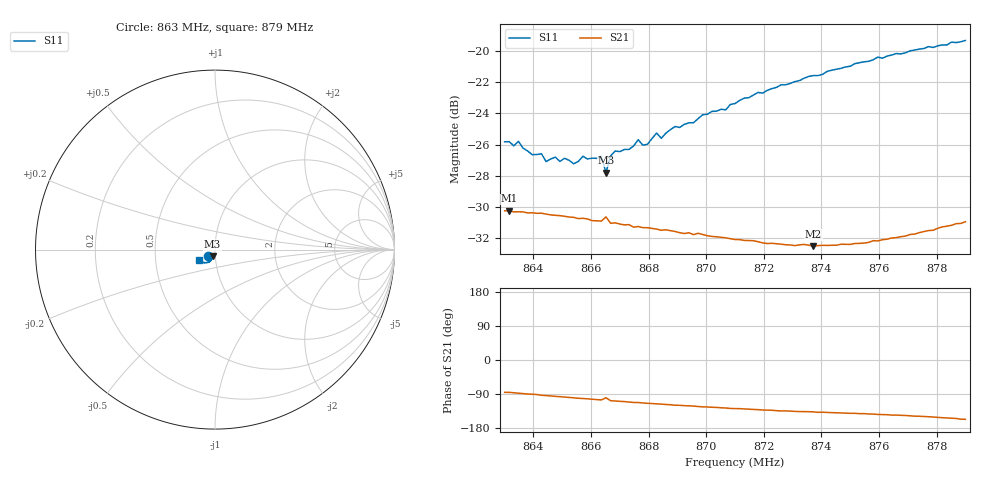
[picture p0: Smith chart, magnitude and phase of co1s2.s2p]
# HZ S RI R 50
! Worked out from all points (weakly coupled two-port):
!   101 points, 863 MHz to 879 MHz, reference 50 ohm
!   highest |S21| = -30.25 dB at 863.16 MHz (marker M1); lowest = -32.5 dB at 873.72 MHz (marker M2)
!   lowest |S11| = -27.8 dB at 866.52 MHz (marker M3), VSWR 1.08, Z = 48.5 - j3.72 ohm
!   |S11| at or under -10 dB: start of sweep to end of sweep
!   S12 and S22 are empty: the file has one direction only
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8.63e8  -0.0381 -0.0342  0.00246 -0.0306  0 0  0 0
8.6316e8  -0.0385 -0.0338  0.00246 -0.0306  0 0  0 0
8.6396e8  -0.0323 -0.0335  -0.000139 -0.0302  0 0  0 0
8.6428e8  -0.0315 -0.0346  -0.0016 -0.0301  0 0  0 0
8.6444e8  -0.0289 -0.0335  -0.00205 -0.0299  0 0  0 0
8.6476e8  -0.0289 -0.0354  -0.00307 -0.0295  0 0  0 0
8.654e8  -0.0245 -0.0359  -0.00495 -0.0288  0 0  0 0
8.6572e8  -0.0235 -0.0395  -0.00589 -0.0284  0 0  0 0
8.6636e8  -0.0225 -0.04  -0.00751 -0.0274  0 0  0 0
8.6652e8  -0.0139 -0.0383  -0.00494 -0.0289  0 0  0 0
8.6668e8  -0.0208 -0.0411  -0.00832 -0.0267  0 0  0 0
8.6684e8  -0.0213 -0.0428  -0.00878 -0.0267  0 0  0 0
8.6732e8  -0.0194 -0.0443  -0.00991 -0.0259  0 0  0 0
8.6764e8  -0.0205 -0.0477  -0.0103 -0.0253  0 0  0 0
8.6796e8  -0.0173 -0.0471  -0.0112 -0.0247  0 0  0 0
8.6828e8  -0.0193 -0.0511  -0.0116 -0.0241  0 0  0 0
8.6844e8  -0.0179 -0.0493  -0.0118 -0.0238  0 0  0 0
8.6892e8  -0.0192 -0.054  -0.0129 -0.0229  0 0  0 0
8.71e8  -0.0256 -0.0629  -0.0154 -0.0195  0 0  0 0
8.7372e8  -0.0418 -0.0723  -0.0172 -0.0162  0 0  0 0
8.7644e8  -0.0661 -0.0713  -0.0207 -0.0143  0 0  0 0
8.79e8  -0.0907 -0.0593  -0.026 -0.0113  0 0  0 0
